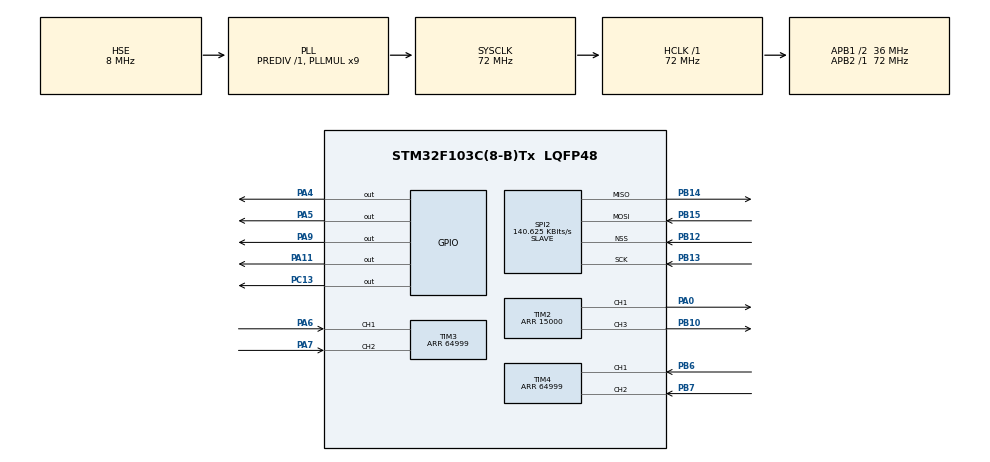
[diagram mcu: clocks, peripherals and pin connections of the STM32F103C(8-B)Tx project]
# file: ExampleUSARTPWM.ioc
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Mcu.Family=STM32F1
Mcu.Name=STM32F103C(8-B)Tx
Mcu.Package=LQFP48
NVIC.PriorityGroup=NVIC_PRIORITYGROUP_4
NVIC.SPI2_IRQn=true\:0\:0\:false\:false\:true\:true\:true
NVIC.TIM1_BRK_IRQn=true\:0\:0\:false\:false\:true\:true\:true
NVIC.TIM1_CC_IRQn=true\:0\:0\:false\:false\:true\:true\:true
NVIC.TIM1_TRG_COM_IRQn=true\:0\:0\:false\:false\:true\:true\:true
NVIC.TIM1_UP_IRQn=true\:0\:0\:false\:false\:true\:true\:true
NVIC.TIM3_IRQn=true\:0\:0\:false\:false\:true\:true\:true
NVIC.TIM4_IRQn=true\:0\:0\:false\:false\:true\:true\:true
PA0-WKUP.Signal=S_TIM2_CH1_ETR
PA11.Signal=GPIO_Output
PA13.Mode=Serial_Wire
PA13.Signal=SYS_JTMS-SWDIO
PA14.Mode=Serial_Wire
PA14.Signal=SYS_JTCK-SWCLK
PA4.Signal=GPIO_Output
PA5.Signal=GPIO_Output
PA6.Signal=S_TIM3_CH1
PA7.Signal=S_TIM3_CH2
PA9.Signal=GPIO_Output
PB10.Signal=S_TIM2_CH3
PB12.Mode=NSS_Signal_Hard_Input
PB12.Signal=SPI2_NSS
PB13.Mode=Full_Duplex_Slave
PB13.Signal=SPI2_SCK
PB14.Mode=Full_Duplex_Slave
PB14.Signal=SPI2_MISO
PB15.Mode=Full_Duplex_Slave
PB15.Signal=SPI2_MOSI
PB6.Signal=S_TIM4_CH1
PB7.Signal=S_TIM4_CH2
PC13-TAMPER-RTC.Signal=GPIO_Output
PD0-OSC_IN.Mode=HSE-External-Oscillator
PD0-OSC_IN.Signal=RCC_OSC_IN
PD1-OSC_OUT.Mode=HSE-External-Oscillator
PD1-OSC_OUT.Signal=RCC_OSC_OUT
ProjectManager.HeapSize=0x200
ProjectManager.StackSize=0x400
ProjectManager.TargetToolchain=STM32CubeIDE
RCC.AHBFreq_Value=72000000
RCC.APB1CLKDivider=RCC_HCLK_DIV2
RCC.APB1Freq_Value=36000000
RCC.APB1TimFreq_Value=72000000
RCC.APB2Freq_Value=72000000
RCC.APB2TimFreq_Value=72000000
RCC.HCLKFreq_Value=72000000
RCC.PLLMUL=RCC_PLL_MUL9
RCC.PLLSourceVirtual=RCC_PLLSOURCE_HSE
RCC.SYSCLKFreq_VALUE=72000000
RCC.SYSCLKSource=RCC_SYSCLKSOURCE_PLLCLK
RCC.USBFreq_Value=72000000
SH.S_TIM2_CH1_ETR.0=TIM2_CH1,PWM Generation1 CH1
SH.S_TIM2_CH3.0=TIM2_CH3,PWM Generation3 CH3
SH.S_TIM3_CH1.0=TIM3_CH1,Encoder_Interface
SH.S_TIM3_CH2.0=TIM3_CH2,Encoder_Interface
SH.S_TIM4_CH1.0=TIM4_CH1,Encoder_Interface
SH.S_TIM4_CH2.0=TIM4_CH2,Encoder_Interface
SPI2.BaudRatePrescaler=SPI_BAUDRATEPRESCALER_256
SPI2.CalculateBaudRate=140.625 KBits/s
SPI2.Direction=SPI_DIRECTION_2LINES
SPI2.Mode=SPI_MODE_SLAVE
SPI2.VirtualNSS=VM_NSSHARD
SPI2.VirtualType=VM_SLAVE
TIM1.Channel-Output\ Compare1\ No\ Output=TIM_CHANNEL_1
TIM1.Period=59999
TIM1.Prescaler=11
TIM2.Channel-PWM\ Generation1\ CH1=TIM_CHANNEL_1
TIM2.Channel-PWM\ Generation3\ CH3=TIM_CHANNEL_3
TIM2.Period=15000
TIM3.EncoderMode=TIM_ENCODERMODE_TI12
TIM3.Period=64999
TIM4.EncoderMode=TIM_ENCODERMODE_TI12
TIM4.Period=64999
VP_TIM1_VS_ClockSourceINT.Mode=Internal
VP_TIM1_VS_no_output1.Mode=Output Compare1 No Output
VP_TIM2_VS_ClockSourceINT.Mode=Internal
board=custom

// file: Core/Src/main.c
/* USER CODE BEGIN Header */
/**
  ******************************************************************************
  * @file           : main.c
  * @brief          : Main program body
  ******************************************************************************
  * @attention
  *
  * <h2><center>&copy; Copyright (c) 2020 STMicroelectronics.
  * All rights reserved.</center></h2>
  *
  * This software component is licensed by ST under BSD 3-Clause license,
  * the "License"; You may not use this file except in compliance with the
  * License. You may obtain a copy of the License at:
  *                        opensource.org/licenses/BSD-3-Clause
  *
  ******************************************************************************
  */
/* USER CODE END Header */
#include "main.h"

/* USER CODE BEGIN Includes */
#include "stdlib.h"
#include <stdio.h>
#include <inttypes.h>
//#include "retarget.h"
#include "math.h"
/* USER CODE END Includes */

/* USER CODE BEGIN PD */
#define MAX_BUFFER 14
/* USER CODE END PD */

SPI_HandleTypeDef hspi2;

TIM_HandleTypeDef htim1;
TIM_HandleTypeDef htim2;
TIM_HandleTypeDef htim3;
TIM_HandleTypeDef htim4;

/* USER CODE BEGIN PV */
uint8_t byte;
//uint8_t byte,
uint8_t indRx=0, flagRx, imprimir = 1, sentido;
uint8_t in_buffer[MAX_BUFFER];
int contOUFlow = 0, pulsosAnt = 0, pulsosAct = 0;
int contOUFlow2=0, pulsosAnt2=0, pulsosAct2 =0;
double velocidadPulsos = 0, velocidadRPM = 0, deltaT = 0.01;
double velocidadPulsos2 = 0, velocidadRPM2 = 0;

//variables para control
double error_vel_act = 0, error_vel_ant = 0;
double error_vel_act2 = 0, error_vel_ant2 = 0;
double velocidad_consigna=0;
double velocidad_consigna2=0;
float KP1 = 20, KI1 = 2, KD1 = 4;
float KP2 = 20, KI2 = 2, KD2 = 4;
//VARIABLE DE PRUEBA RECEPCION SPI
float num_spi=0;

double Ui_anterior=0, Ui_actual=0; // para control integral
double Up=0;
double Ud=0;
double Ui_anterior2=0, Ui_actual2=0; // para control integral
double Up2=0;
double Ud2=0;

int control=1;
int contador=0; //contador de tiempo para activar la señal de referencia;
int flagCont=0;
uint32_t duty_cycle_pid = 0;
uint32_t duty_cycle_pid2 = 0;
int stop1=1;
int stop2=1;
/* USER CODE END PV */

void SystemClock_Config(void);
static void MX_GPIO_Init(void);
static void MX_TIM2_Init(void);
static void MX_TIM1_Init(void);
static void MX_TIM3_Init(void);
static void MX_TIM4_Init(void);
static void MX_SPI2_Init(void);

/* USER CODE BEGIN 0 */
void interpreteComando(){

	//uint32_t duty_cycle;
	double consigna;
	switch (in_buffer[1]) {

	case 'W':
	case 'w':

	    num_spi=num_spi+20;
		switch (in_buffer[2]) {
		/*codigo ascii de '1' = 49*/
		case 49:
			if (in_buffer[3]) {
				/*codigo ascii de '+' = 43*/
				if (in_buffer[3] == 43) {
					stop1=0;
					HAL_GPIO_WritePin(GPIOA, GPIO_PIN_4, 1);
					HAL_GPIO_WritePin(GPIOA, GPIO_PIN_5, 0);
					num_spi=num_spi+5;
					if (in_buffer[4]) {
						consigna = atof((char*)&in_buffer[4]);
						if (consigna < 35) {
							velocidad_consigna = consigna;
						} else {
							velocidad_consigna = 35;
						}
						//printf("\r\n Velocidad consigna motor 1 : %s %5.3f \r\n","+", velocidad_consigna);
					}
					/*codigo ascii de '-' = 45*/
				} else if (in_buffer[3] == 45) {
					HAL_GPIO_WritePin(GPIOA, GPIO_PIN_4, 0);
					HAL_GPIO_WritePin(GPIOA, GPIO_PIN_5, 1);
					stop1=0;
					num_spi=num_spi+5;
					if (in_buffer[4]) {
						consigna = atof((char*)&in_buffer[4]);
						if (consigna < 35) {
							velocidad_consigna = -consigna;
						} else {
							velocidad_consigna = -35;
						}
						//printf("\r\n Velocidad consigna motor 1 : %5.3f \r\n", velocidad_consigna);
					}
					/*codigo ascii de '0' = 48*/
				}else if(in_buffer[3] == 48){
					velocidad_consigna=0;
					HAL_GPIO_WritePin(GPIOA, GPIO_PIN_4, 1);
					HAL_GPIO_WritePin(GPIOA, GPIO_PIN_5, 1);
					stop1=1;
					//printf("\r\n Velocidad consigna motor 1 : %5.3f \r\n", velocidad_consigna);

				}
			}
			break;
			/*codigo ascii de '2' = 50*/
		case 50:
			if (in_buffer[3]) {
				if (in_buffer[3] == 43) {
					stop2=0;
					HAL_GPIO_WritePin(GPIOA, GPIO_PIN_9, 1);
					HAL_GPIO_WritePin(GPIOA, GPIO_PIN_11, 0);
					num_spi=num_spi+5;
					if (in_buffer[4]) {
						consigna = atof((char*)&in_buffer[4]);
						if (consigna < 35) {
							velocidad_consigna2 = consigna;
						} else {
							velocidad_consigna2 = 35;
						}
						//printf("\r\n Velocidad consigna motor 2 :  %s %5.3f \r\n","+", velocidad_consigna2);
					}
				} else if (in_buffer[3] == 45) {
					stop2=0;
					HAL_GPIO_WritePin(GPIOA, GPIO_PIN_9, 0);
					HAL_GPIO_WritePin(GPIOA, GPIO_PIN_11, 1);
					num_spi=num_spi+5;
					if (in_buffer[4]) {
						consigna = atof((char*)&in_buffer[4]);
						if( consigna==0){
							velocidad_consigna2=0;
						}else if (consigna < 35) {
							velocidad_consigna2 = -consigna;
						} else {
							velocidad_consigna2 = -35;
						}
						//printf("\r\n Velocidad consigna motor 2 :  %5.3f \r\n",velocidad_consigna2);
					}
				}else if(in_buffer[3] == 48){
					velocidad_consigna2=0;
					HAL_GPIO_WritePin(GPIOA, GPIO_PIN_9, 1);
					HAL_GPIO_WritePin(GPIOA, GPIO_PIN_11, 1);
					stop2=0;
					//printf("\r\n Velocidad consigna motor 2 :  %5.3f \r\n",velocidad_consigna2);
				}
			}
			break;
		}
			break;

//		case 'v':
//		case 'V':
//			if(buffer[1]){
//				consigna = atof(&buffer[1]);
//				velocidad_consigna=(double) consigna;
//			break;
//			}
//
//		case 'c':
//		case 'C':
//			control=1;
//			break;
		case 'p':
		case 'P':
			switch (in_buffer[1]) {
					/*codigo ascii de '1' = 49*/
					case 49:
						consigna = atof((char *) &in_buffer[2]);
						KP1=(float) consigna;
						//printf("\r\n");
						break;
					/*codigo ascii de '2' = 50*/
					case 50:
						consigna = atof((char *) &in_buffer[2]);
						KP2=(float) consigna;
						//printf("\r\n");
						break;
					default:
					//printf("\r\n Por favor indicar el valor correcto ( 1 ó 2 )\r\n");
					break;

			}
			break;
		case 'i':
		case 'I':
			switch (in_buffer[1]) {
					/*codigo ascii de '1' = 49*/
					case 49:
						consigna = atof((char *)&in_buffer[2]);
						KI1=(float) consigna;
						//printf("\r\n");
						break;
					/*codigo ascii de '2' = 50*/
					case 50:
						consigna = atof((char *)&in_buffer[2]);
						KI2=(float) consigna;
						//printf("\r\n");
						break;
					default:
						//printf("\r\n Por favor indicar el valor correcto ( 1 ó 2 )\r\n");
						break;
			}
			break;
		case 'd':
		case 'D':
			switch (in_buffer[1]) {
					/*codigo ascii de '1' = 49*/
					case 49:
						consigna = atof((char *)&in_buffer[2]);
						KD1=(float) consigna;
						//printf("\r\n");
						break;
					/*codigo ascii de '2' = 50*/
					case 50:
						consigna = atof((char *)&in_buffer[2]);
						KD2=(float) consigna;
						//printf("\r\n");
						break;
					default:
						//printf("\r\n Por favor indicar el valor correcto ( 1 ó 2 )\r\n");
						break;
			}
			break;

//		case 'r':
//		case 'R':
//			control=0;
//			__HAL_TIM_SET_COMPARE(&htim2, TIM_CHANNEL_1, 0);
//			break;
	}

}

void HAL_TIM_PeriodElapsedCallback (TIM_HandleTypeDef *htim){
	if(htim->Instance == TIM1){
		//pulsosAct = contOUFlow*(htim3.Instance->ARR) + __HAL_TIM_GET_COUNTER(&htim3);
		pulsosAct = (contOUFlow*65000) + __HAL_TIM_GET_COUNTER(&htim3);
		velocidadPulsos = (pulsosAct - pulsosAnt)/deltaT;
		velocidadRPM = velocidadPulsos/(168*44) * 60;
		pulsosAnt = pulsosAct;

		pulsosAct2 = (contOUFlow2*65000) + __HAL_TIM_GET_COUNTER(&htim4);
		velocidadPulsos2 = (pulsosAct2 - pulsosAnt2)/deltaT;
		velocidadRPM2 = velocidadPulsos2/(168*44) * 60;
		pulsosAnt2 = pulsosAct2;

		//para el control
		if(control==1){
			//calculo PID:
			/*
			 *----------------  control motor 1
			 */
			error_vel_act = velocidad_consigna-velocidadRPM;
//			if(error_vel_act<0 ){
//				HAL_GPIO_WritePin(GPIOA, GPIO_PIN_4, 0);
//			    HAL_GPIO_WritePin(GPIOA, GPIO_PIN_5, 1);
//			}else if(error_vel_act>0){
//				HAL_GPIO_WritePin(GPIOA, GPIO_PIN_4, 1);
//			   HAL_GPIO_WritePin(GPIOA, GPIO_PIN_5, 0);
//			}
			if(stop1==1){
			  Ui_anterior=0;
			}
//			error_vel_acterror_vel_act);
			Up=KP1 * error_vel_act;
			Ui_actual=Ui_anterior + (KI1 * deltaT * error_vel_ant);
			Ud=(KD1/ deltaT) * (error_vel_act-error_vel_ant);
			if(velocidad_consigna>0){
				duty_cycle_pid = (uint32_t) fabs(duty_cycle_pid +(Up + Ui_actual + Ud));
			}else if(velocidad_consigna<0){
				duty_cycle_pid = (uint32_t) fabs(duty_cycle_pid -(Up + Ui_actual + Ud));
			}else{
				duty_cycle_pid = 0;
			}
      if(duty_cycle_pid > 14000){
				duty_cycle_pid=14000;
			}
			__HAL_TIM_SET_COMPARE(&htim2, TIM_CHANNEL_1, duty_cycle_pid);
			Ui_anterior=Ui_actual;
			error_vel_ant=error_vel_act;

			/*
			 * ------------------control motor 2
			 */
			error_vel_act2 = velocidad_consigna2-velocidadRPM2;

//			if(error_vel_act2<0 ){
//				HAL_GPIO_WritePin(GPIOA, GPIO_PIN_9, 0);
//				HAL_GPIO_WritePin(GPIOA, GPIO_PIN_11, 1);
//			}else if(error_vel_act2>0){
//				HAL_GPIO_WritePin(GPIOA, GPIO_PIN_9, 1);
//			    HAL_GPIO_WritePin(GPIOA, GPIO_PIN_11, 0);
//     }
			if(stop2==1){
				Ui_anterior2=0;
			}
			Up2=KP2 * error_vel_act2;
			Ui_actual2=Ui_anterior2 + KI2 * deltaT * error_vel_ant2;
			Ud2=KD2/ deltaT * (error_vel_act2-error_vel_ant2);
			if(velocidad_consigna2 > 0){
				duty_cycle_pid2 = (uint32_t) fabs(duty_cycle_pid2 +(Up2 + Ui_actual2 + Ud2));
			}else if(velocidad_consigna2 < 0){
				duty_cycle_pid2 = (uint32_t) fabs(duty_cycle_pid2 -(Up2 + Ui_actual2 + Ud2));
			}else{
				duty_cycle_pid2 = 0;
			}
			if(duty_cycle_pid2 > 14000){
				duty_cycle_pid2=14000;
			}
			__HAL_TIM_SET_COMPARE(&htim2, TIM_CHANNEL_3, duty_cycle_pid2);
			Ui_anterior2=Ui_actual2;
			error_vel_ant2=error_vel_act2;
		}
	}else if(htim->Instance == TIM3){
		if(__HAL_TIM_GET_COUNTER(&htim3) > (htim->Init.Period+1)/2){ //Underflow
			contOUFlow--;
			printf("underflow motor 1 \r\n");
		}else { //Overflow
			contOUFlow++;
			printf("overflow motor 1 \r\n");
		}
	}else if(htim->Instance == TIM4){
		if(__HAL_TIM_GET_COUNTER(&htim4) > (htim->Init.Period+1)/2){ //Underflow
			contOUFlow2--;
			printf("underflow motor 2 \r\n");
		}else { //Overflow
			contOUFlow2++;
			printf("overflow motor 2 \r\n");
		}
	}
}
/**
  * @brief  The application entry point.
  * @retval int
  */
void HAL_SPI_RxCpltCallback(SPI_HandleTypeDef * hspi){
	num_spi=num_spi+10;
	  if (hspi->Instance == SPI2){
		  interpreteComando();
//		  //num_spi=num_spi+10;
//		  switch(byte){
//		  	  case ':': //Comienzo de la trama
//				  flagRx = 1;
//				  indRx = 0;
//				  //imprimir = 0;
//				  //HAL_SPI_Transmit(&hspi1, &byte, 1, 100);
//				  break;
//		  	  case '\r': //Retorno, fin de trama.
//		  	  case ';':  //Fin de trama.
//		  		  //HAL_SPI_Transmit(&hspi1, &byte, 1, 100);
//		  		  if(flagRx){
//		  			flagRx = 0;
//		  			in_buffer[indRx] = 0;
//		  			interpreteComando();
//		  		  }
//		  		  break;
//		  	  case 8: //Retroceso es permitido de esta manera.
//		  		  if(flagRx){
//		  			  if(indRx > 0){
//		  				indRx--;
//		  			  }
//		  		  }
//		  		  break;
//		  	  default: //Almacenamiento de la trama.
//		  		  //HAL_SPI_Transmit(&hspi1, &byte, 1, 100);
//		  		  if(flagRx){
//		  			  in_buffer[indRx] = byte;
//		  			  if(indRx < MAX_BUFFER - 1){
//		  				indRx++;
//		  			  }
//
//		  		  }
//		  		break;
//		  }

	    /* Receive one byte in interrupt mode */
		//HAL_SPI_Receive_IT(&hspi2, &byte, 1);
		  HAL_SPI_Receive_IT(&hspi2, in_buffer, 14);
	  }
}
/* USER CODE END 0 */

int main(void)
{

  /* MCU Configuration--------------------------------------------------------*/

  /* Reset of all peripherals, Initializes the Flash interface and the Systick. */
  HAL_Init();

  /* Configure the system clock */
  SystemClock_Config();

  /* Initialize all configured peripherals */
  MX_GPIO_Init();
  MX_TIM2_Init();
  MX_TIM1_Init();
  MX_TIM3_Init();
  MX_TIM4_Init();
  MX_SPI2_Init();
  /* USER CODE BEGIN 2 */

	//RetargetInit(&huart2);
	//HAL_UART_Receive_IT(&huart2, &byte, 1);
    //HAL_SPI_Receive_IT(&hspi2, &byte, 1);

	HAL_TIM_Base_Start_IT(&htim1);
	HAL_TIM_OC_Start_IT(&htim1, TIM_CHANNEL_1);

	/*Se activan canales para generacion PWM- */
	/*canal 1 para motor 1 */
	/*canal  para motor 2*/
	HAL_TIM_Base_Start(&htim2);
	HAL_TIM_PWM_Start_IT(&htim2, TIM_CHANNEL_1);
	HAL_TIM_PWM_Start_IT(&htim2, TIM_CHANNEL_3);

	HAL_TIM_Base_Start_IT(&htim3);
	HAL_TIM_Encoder_Start_IT(&htim3, TIM_CHANNEL_ALL);

	HAL_TIM_Base_Start_IT(&htim4);
	HAL_TIM_Encoder_Start_IT(&htim4, TIM_CHANNEL_ALL);

	/*Se activa en sentido positivo del motor  1*/
	HAL_GPIO_WritePin(GPIOA, GPIO_PIN_4, 1);
	HAL_GPIO_WritePin(GPIOA, GPIO_PIN_5, 0);

	/*Se activa el sentido positivo del motor 2*/
	HAL_GPIO_WritePin(GPIOA, GPIO_PIN_9, 0);
	HAL_GPIO_WritePin(GPIOA, GPIO_PIN_11, 1);
	/*Se fuerza valor del contador del timer 3 y 4 para lecturas de encoders*/
	__HAL_TIM_SET_COUNTER(&htim3,0);
	__HAL_TIM_SET_COUNTER(&htim4,0);

  /* USER CODE END 2 */

  /* Infinite loop */
  /* USER CODE BEGIN WHILE */
	uint8_t out_buffer[18] = {':','w','1','+','2','5',';',':','w','2','+','2','5',';',':','w','?',';'};
	HAL_GPIO_WritePin(GPIOB, GPIO_PIN_12, 1);
	//HAL_SPI_Receive_IT(&hspi2, in_buffer, 14);
	//HAL_SPI_Receive_IT(&hspi2, &byte, 1);
	//HAL_SPI_Receive_IT(&hspi2, in_buffer, 14);
	while (1) {
		//transmision spi

		HAL_GPIO_WritePin(GPIOB, GPIO_PIN_12, 0);
		//HAL_SPI_TransmitReceive_IT(&hspi2, out_buffer, in_buffer, 14);
		HAL_SPI_Transmit(&hspi2, out_buffer, 18, 1);
		//HAL_SPI_Receive(&hspi2, in_buffer, 14, 1);
		interpreteComando();
		HAL_Delay(1000);
		HAL_GPIO_WritePin(GPIOB, GPIO_PIN_12, 1);

		HAL_GPIO_WritePin(GPIOC, GPIO_PIN_13, 1);
		HAL_Delay(100);
		HAL_GPIO_WritePin(GPIOC, GPIO_PIN_13, 0);
		HAL_Delay(100);
    /* USER CODE END WHILE */

	}
}

void SystemClock_Config(void)
{
  RCC_OscInitTypeDef RCC_OscInitStruct = {0};
  RCC_ClkInitTypeDef RCC_ClkInitStruct = {0};

  /** Initializes the RCC Oscillators according to the specified parameters
  * in the RCC_OscInitTypeDef structure.
  */
  RCC_OscInitStruct.OscillatorType = RCC_OSCILLATORTYPE_HSE;
  RCC_OscInitStruct.HSEState = RCC_HSE_ON;
  RCC_OscInitStruct.HSEPredivValue = RCC_HSE_PREDIV_DIV1;
  RCC_OscInitStruct.HSIState = RCC_HSI_ON;
  RCC_OscInitStruct.PLL.PLLState = RCC_PLL_ON;
  RCC_OscInitStruct.PLL.PLLSource = RCC_PLLSOURCE_HSE;
  RCC_OscInitStruct.PLL.PLLMUL = RCC_PLL_MUL9;
  if (HAL_RCC_OscConfig(&RCC_OscInitStruct) != HAL_OK)
  {
    Error_Handler();
  }
  /** Initializes the CPU, AHB and APB buses clocks
  */
  RCC_ClkInitStruct.ClockType = RCC_CLOCKTYPE_HCLK|RCC_CLOCKTYPE_SYSCLK
                              |RCC_CLOCKTYPE_PCLK1|RCC_CLOCKTYPE_PCLK2;
  RCC_ClkInitStruct.SYSCLKSource = RCC_SYSCLKSOURCE_PLLCLK;
  RCC_ClkInitStruct.AHBCLKDivider = RCC_SYSCLK_DIV1;
  RCC_ClkInitStruct.APB1CLKDivider = RCC_HCLK_DIV2;
  RCC_ClkInitStruct.APB2CLKDivider = RCC_HCLK_DIV1;

  if (HAL_RCC_ClockConfig(&RCC_ClkInitStruct, FLASH_LATENCY_2) != HAL_OK)
  {
    Error_Handler();
  }
}

static void MX_SPI2_Init(void)
{

  /* SPI2 parameter configuration*/
  hspi2.Instance = SPI2;
  hspi2.Init.Mode = SPI_MODE_MASTER;
  hspi2.Init.Direction = SPI_DIRECTION_2LINES;
  hspi2.Init.DataSize = SPI_DATASIZE_8BIT;
  hspi2.Init.CLKPolarity = SPI_POLARITY_LOW;
  hspi2.Init.CLKPhase = SPI_PHASE_1EDGE;
  hspi2.Init.NSS = SPI_NSS_SOFT;
  hspi2.Init.BaudRatePrescaler = SPI_BAUDRATEPRESCALER_256;
  hspi2.Init.FirstBit = SPI_FIRSTBIT_MSB;
  hspi2.Init.TIMode = SPI_TIMODE_DISABLE;
  hspi2.Init.CRCCalculation = SPI_CRCCALCULATION_DISABLE;
  hspi2.Init.CRCPolynomial = 10;
  if (HAL_SPI_Init(&hspi2) != HAL_OK)
  {
    Error_Handler();
  }

}

static void MX_TIM1_Init(void)
{

  TIM_ClockConfigTypeDef sClockSourceConfig = {0};
  TIM_MasterConfigTypeDef sMasterConfig = {0};
  TIM_OC_InitTypeDef sConfigOC = {0};
  TIM_BreakDeadTimeConfigTypeDef sBreakDeadTimeConfig = {0};

  htim1.Instance = TIM1;
  htim1.Init.Prescaler = 11;
  htim1.Init.CounterMode = TIM_COUNTERMODE_UP;
  htim1.Init.Period = 59999;
  htim1.Init.ClockDivision = TIM_CLOCKDIVISION_DIV1;
  htim1.Init.RepetitionCounter = 0;
  htim1.Init.AutoReloadPreload = TIM_AUTORELOAD_PRELOAD_DISABLE;
  if (HAL_TIM_Base_Init(&htim1) != HAL_OK)
  {
    Error_Handler();
  }
  sClockSourceConfig.ClockSource = TIM_CLOCKSOURCE_INTERNAL;
  if (HAL_TIM_ConfigClockSource(&htim1, &sClockSourceConfig) != HAL_OK)
  {
    Error_Handler();
  }
  if (HAL_TIM_OC_Init(&htim1) != HAL_OK)
  {
    Error_Handler();
  }
  sMasterConfig.MasterOutputTrigger = TIM_TRGO_RESET;
  sMasterConfig.MasterSlaveMode = TIM_MASTERSLAVEMODE_DISABLE;
  if (HAL_TIMEx_MasterConfigSynchronization(&htim1, &sMasterConfig) != HAL_OK)
  {
    Error_Handler();
  }
  sConfigOC.OCMode = TIM_OCMODE_TIMING;
  sConfigOC.Pulse = 0;
  sConfigOC.OCPolarity = TIM_OCPOLARITY_HIGH;
  sConfigOC.OCNPolarity = TIM_OCNPOLARITY_HIGH;
  sConfigOC.OCFastMode = TIM_OCFAST_DISABLE;
  sConfigOC.OCIdleState = TIM_OCIDLESTATE_RESET;
  sConfigOC.OCNIdleState = TIM_OCNIDLESTATE_RESET;
  if (HAL_TIM_OC_ConfigChannel(&htim1, &sConfigOC, TIM_CHANNEL_1) != HAL_OK)
  {
    Error_Handler();
  }
  sBreakDeadTimeConfig.OffStateRunMode = TIM_OSSR_DISABLE;
  sBreakDeadTimeConfig.OffStateIDLEMode = TIM_OSSI_DISABLE;
  sBreakDeadTimeConfig.LockLevel = TIM_LOCKLEVEL_OFF;
  sBreakDeadTimeConfig.DeadTime = 0;
  sBreakDeadTimeConfig.BreakState = TIM_BREAK_DISABLE;
  sBreakDeadTimeConfig.BreakPolarity = TIM_BREAKPOLARITY_HIGH;
  sBreakDeadTimeConfig.AutomaticOutput = TIM_AUTOMATICOUTPUT_DISABLE;
  if (HAL_TIMEx_ConfigBreakDeadTime(&htim1, &sBreakDeadTimeConfig) != HAL_OK)
  {
    Error_Handler();
  }

}

static void MX_TIM2_Init(void)
{

  TIM_ClockConfigTypeDef sClockSourceConfig = {0};
  TIM_MasterConfigTypeDef sMasterConfig = {0};
  TIM_OC_InitTypeDef sConfigOC = {0};

  htim2.Instance = TIM2;
  htim2.Init.Prescaler = 0;
  htim2.Init.CounterMode = TIM_COUNTERMODE_UP;
  htim2.Init.Period = 36000;
  htim2.Init.ClockDivision = TIM_CLOCKDIVISION_DIV1;
  htim2.Init.AutoReloadPreload = TIM_AUTORELOAD_PRELOAD_DISABLE;
  if (HAL_TIM_Base_Init(&htim2) != HAL_OK)
  {
    Error_Handler();
  }
  sClockSourceConfig.ClockSource = TIM_CLOCKSOURCE_INTERNAL;
  if (HAL_TIM_ConfigClockSource(&htim2, &sClockSourceConfig) != HAL_OK)
  {
    Error_Handler();
  }
  if (HAL_TIM_PWM_Init(&htim2) != HAL_OK)
  {
    Error_Handler();
  }
  sMasterConfig.MasterOutputTrigger = TIM_TRGO_RESET;
  sMasterConfig.MasterSlaveMode = TIM_MASTERSLAVEMODE_DISABLE;
  if (HAL_TIMEx_MasterConfigSynchronization(&htim2, &sMasterConfig) != HAL_OK)
  {
    Error_Handler();
  }
  sConfigOC.OCMode = TIM_OCMODE_PWM1;
  sConfigOC.Pulse = 0;
  sConfigOC.OCPolarity = TIM_OCPOLARITY_HIGH;
  sConfigOC.OCFastMode = TIM_OCFAST_DISABLE;
  if (HAL_TIM_PWM_ConfigChannel(&htim2, &sConfigOC, TIM_CHANNEL_1) != HAL_OK)
  {
    Error_Handler();
  }
  if (HAL_TIM_PWM_ConfigChannel(&htim2, &sConfigOC, TIM_CHANNEL_3) != HAL_OK)
  {
    Error_Handler();
  }
  HAL_TIM_MspPostInit(&htim2);

}

static void MX_TIM3_Init(void)
{

  TIM_Encoder_InitTypeDef sConfig = {0};
  TIM_MasterConfigTypeDef sMasterConfig = {0};

  htim3.Instance = TIM3;
  htim3.Init.Prescaler = 0;
  htim3.Init.CounterMode = TIM_COUNTERMODE_UP;
  htim3.Init.Period = 64999;
  htim3.Init.ClockDivision = TIM_CLOCKDIVISION_DIV1;
  htim3.Init.AutoReloadPreload = TIM_AUTORELOAD_PRELOAD_DISABLE;
  sConfig.EncoderMode = TIM_ENCODERMODE_TI12;
  sConfig.IC1Polarity = TIM_ICPOLARITY_RISING;
  sConfig.IC1Selection = TIM_ICSELECTION_DIRECTTI;
  sConfig.IC1Prescaler = TIM_ICPSC_DIV1;
  sConfig.IC1Filter = 0;
  sConfig.IC2Polarity = TIM_ICPOLARITY_RISING;
  sConfig.IC2Selection = TIM_ICSELECTION_DIRECTTI;
  sConfig.IC2Prescaler = TIM_ICPSC_DIV1;
  sConfig.IC2Filter = 0;
  if (HAL_TIM_Encoder_Init(&htim3, &sConfig) != HAL_OK)
  {
    Error_Handler();
  }
  sMasterConfig.MasterOutputTrigger = TIM_TRGO_RESET;
  sMasterConfig.MasterSlaveMode = TIM_MASTERSLAVEMODE_DISABLE;
  if (HAL_TIMEx_MasterConfigSynchronization(&htim3, &sMasterConfig) != HAL_OK)
  {
    Error_Handler();
  }

}

static void MX_TIM4_Init(void)
{

  TIM_Encoder_InitTypeDef sConfig = {0};
  TIM_MasterConfigTypeDef sMasterConfig = {0};

  htim4.Instance = TIM4;
  htim4.Init.Prescaler = 0;
  htim4.Init.CounterMode = TIM_COUNTERMODE_UP;
  htim4.Init.Period = 64999;
  htim4.Init.ClockDivision = TIM_CLOCKDIVISION_DIV1;
  htim4.Init.AutoReloadPreload = TIM_AUTORELOAD_PRELOAD_DISABLE;
  sConfig.EncoderMode = TIM_ENCODERMODE_TI12;
  sConfig.IC1Polarity = TIM_ICPOLARITY_RISING;
  sConfig.IC1Selection = TIM_ICSELECTION_DIRECTTI;
  sConfig.IC1Prescaler = TIM_ICPSC_DIV1;
  sConfig.IC1Filter = 0;
  sConfig.IC2Polarity = TIM_ICPOLARITY_RISING;
  sConfig.IC2Selection = TIM_ICSELECTION_DIRECTTI;
  sConfig.IC2Prescaler = TIM_ICPSC_DIV1;
  sConfig.IC2Filter = 0;
  if (HAL_TIM_Encoder_Init(&htim4, &sConfig) != HAL_OK)
  {
    Error_Handler();
  }
  sMasterConfig.MasterOutputTrigger = TIM_TRGO_RESET;
  sMasterConfig.MasterSlaveMode = TIM_MASTERSLAVEMODE_DISABLE;
  if (HAL_TIMEx_MasterConfigSynchronization(&htim4, &sMasterConfig) != HAL_OK)
  {
    Error_Handler();
  }

}

static void MX_GPIO_Init(void)
{
  GPIO_InitTypeDef GPIO_InitStruct = {0};

  /* GPIO Ports Clock Enable */
  __HAL_RCC_GPIOC_CLK_ENABLE();
  __HAL_RCC_GPIOD_CLK_ENABLE();
  __HAL_RCC_GPIOA_CLK_ENABLE();
  __HAL_RCC_GPIOB_CLK_ENABLE();

  /*Configure GPIO pin Output Level */
  HAL_GPIO_WritePin(GPIOC, GPIO_PIN_13, GPIO_PIN_RESET);

  /*Configure GPIO pin Output Level */
  HAL_GPIO_WritePin(GPIOA, GPIO_PIN_4|GPIO_PIN_5|GPIO_PIN_9|GPIO_PIN_11, GPIO_PIN_RESET);

  /*Configure GPIO pin Output Level */
  HAL_GPIO_WritePin(GPIOB, GPIO_PIN_12, GPIO_PIN_RESET);

  /*Configure GPIO pin : PC13 */
  GPIO_InitStruct.Pin = GPIO_PIN_13;
  GPIO_InitStruct.Mode = GPIO_MODE_OUTPUT_PP;
  GPIO_InitStruct.Pull = GPIO_NOPULL;
  GPIO_InitStruct.Speed = GPIO_SPEED_FREQ_LOW;
  HAL_GPIO_Init(GPIOC, &GPIO_InitStruct);

  /*Configure GPIO pins : PA4 PA5 PA9 PA11 */
  GPIO_InitStruct.Pin = GPIO_PIN_4|GPIO_PIN_5|GPIO_PIN_9|GPIO_PIN_11;
  GPIO_InitStruct.Mode = GPIO_MODE_OUTPUT_PP;
  GPIO_InitStruct.Pull = GPIO_NOPULL;
  GPIO_InitStruct.Speed = GPIO_SPEED_FREQ_LOW;
  HAL_GPIO_Init(GPIOA, &GPIO_InitStruct);

  /*Configure GPIO pin : PB12 */
  GPIO_InitStruct.Pin = GPIO_PIN_12;
  GPIO_InitStruct.Mode = GPIO_MODE_OUTPUT_PP;
  GPIO_InitStruct.Pull = GPIO_NOPULL;
  GPIO_InitStruct.Speed = GPIO_SPEED_FREQ_LOW;
  HAL_GPIO_Init(GPIOB, &GPIO_InitStruct);

}

void Error_Handler(void)
{
}

/************************ (C) COPYRIGHT STMicroelectronics *****END OF FILE****/
